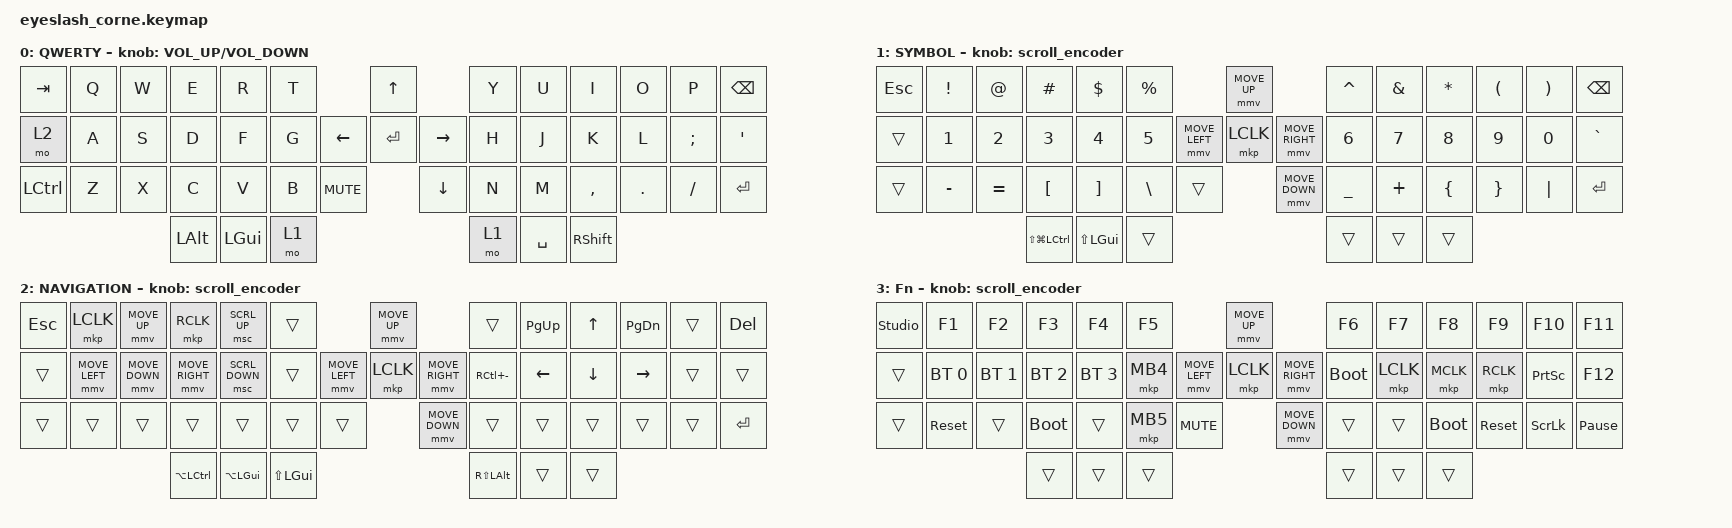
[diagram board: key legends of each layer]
#define ZMK_POINTING_DEFAULT_MOVE_VAL 1200  // 600
#define ZMK_POINTING_DEFAULT_SCRL_VAL 25   // 10

#include <input/processors.dtsi>
#include <zephyr/dt-bindings/input/input-event-codes.h>
#include <behaviors.dtsi>
#include <dt-bindings/zmk/bt.h>
#include <dt-bindings/zmk/keys.h>
#include <dt-bindings/zmk/outputs.h>
#include <dt-bindings/zmk/pointing.h>
#include <dt-bindings/zmk/rgb.h>
#include <behaviors/runtime-sensor-rotate.dtsi>

&mmv_input_listener { input-processors = <&zip_xy_scaler 2 1>; };

&msc_input_listener { input-processors = <&zip_scroll_scaler 2 1>; };

&msc {
    acceleration-exponent = <1>;      // 0
    time-to-max-speed-ms = <100>;       // 300
    delay-ms = <0>;                   // 0
};

&mmv {
    time-to-max-speed-ms = <500>;
    acceleration-exponent = <1>;
    trigger-period-ms = <16>;
};

/ {
    behaviors {
        td0: td0 {
            compatible = "zmk,behavior-tap-dance";
            display-name = "Shift/Caps Lock Tap Dance";
            #binding-cells = <0>;
            bindings = <&kp LEFT_SHIFT>, <&kp CAPS>;
        };

        rsr_vol: rsr_vol {
            compatible = "zmk,behavior-runtime-sensor-rotate";
            #sensor-binding-cells = <0>;
            tap-ms = <5>;
            cw-binding = <&kp C_VOL_UP>;
            ccw-binding = <&kp C_VOL_DN>;
        };

        rsr_trans: rsr_trans {
            compatible = "zmk,behavior-runtime-sensor-rotate";
            #sensor-binding-cells = <0>;
            tap-ms = <0>;
        };
    };
    rgb_encoder: rgb_encoder {
        compatible = "zmk,behavior-sensor-rotate";
        #sensor-binding-cells = <0>;
        bindings = <&rgb_ug RGB_BRI>, <&rgb_ug RGB_BRD>;
    };

    conditional_layers {
        compatible = "zmk,conditional-layers";

        tri_layer {
            if-layers = <1 2>;
            then-layer = <3>;
        };
    };

    scroll_encoder: scroll_encoder {
        compatible = "zmk,behavior-sensor-rotate";
        #sensor-binding-cells = <0>;
        bindings = <&msc SCRL_DOWN>, <&msc SCRL_UP>;

        tap-ms = <100>;
    };

    keymap {
        compatible = "zmk,keymap";

        default_layer {
            display-name = "QWERTY";
            bindings = <
&kp TAB         &kp Q  &kp W  &kp E     &kp R     &kp T                         &kp UP                &kp Y  &kp U      &kp I      &kp O    &kp P     &kp BSPC
&mo 2           &kp A  &kp S  &kp D     &kp F     &kp G               &kp LEFT  &kp ENTER  &kp RIGHT  &kp H  &kp J      &kp K      &kp L    &kp SEMI  &kp SQT
&kp LCTRL       &kp Z  &kp X  &kp C     &kp V     &kp B  &kp C_MUTE             &kp DOWN              &kp N  &kp M      &kp COMMA  &kp DOT  &kp FSLH  &kp ENTER
                              &kp LALT  &kp LGUI  &mo 1                                               &mo 1  &kp SPACE  &kp RSHFT
            >;

            sensor-bindings = <&inc_dec_kp C_VOLUME_UP C_VOLUME_DOWN>;
        };

        lower_layer {
            display-name = "SYMBOL";
            bindings = <
&kp ESC  &kp EXCL   &kp AT     &kp HASH  &kp DLLR  &kp PRCNT                            &mmv MOVE_UP                     &kp CARET  &kp AMPS  &kp ASTRK  &kp LPAR  &kp RPAR  &kp BSPC
&trans   &kp N1     &kp N2     &kp N3    &kp N4    &kp N5               &mmv MOVE_LEFT  &mkp LCLK       &mmv MOVE_RIGHT  &kp N6     &kp N7    &kp N8     &kp N9    &kp N0    &kp GRAVE
&trans   &kp MINUS  &kp EQUAL  &kp LBKT  &kp RBKT  &kp BSLH   &trans                   &mmv MOVE_DOWN                   &kp UNDER  &kp PLUS  &kp LBRC   &kp RBRC  &kp PIPE  &kp ENTER
                               &kp LS(LG(LCTRL))  &kp LS(LGUI)  &trans                                                                &trans     &trans    &trans
            >;

            sensor-bindings = <&scroll_encoder>;
        };

        raise_layer {
            display-name = "NAVIGATION";
            bindings = <
&kp ESC    &mkp LCLK      &mmv MOVE_UP    &mkp RCLK       &msc SCRL_UP   &trans                                  &mmv MOVE_UP                     &trans         &kp PG_UP  &kp UP    &kp PG_DN  &trans  &kp DEL
&trans     &mmv MOVE_LEFT &mmv MOVE_DOWN  &mmv MOVE_RIGHT &msc SCRL_DOWN &trans                &mmv MOVE_LEFT  &mkp LCLK       &mmv MOVE_RIGHT  &kp RC(MINUS)  &kp LEFT   &kp DOWN  &kp RIGHT  &trans  &trans
&trans     &trans    &trans    &trans          &trans         &trans      &trans                     &mmv MOVE_DOWN                   &trans         &trans     &trans    &trans     &trans  &kp ENTER
                               &kp LA(LCTRL)  &kp LA(LGUI)  &kp LS(LGUI)                                                            &kp RS(LALT)   &trans     &trans
            >;

            sensor-bindings = <&scroll_encoder>;
        };

        layer_3 {
            display-name = "Fn";
            bindings = <
&studio_unlock  &kp F1      &kp F2     &kp F3       &kp F4     &kp F5                                  &mmv MOVE_UP                     &kp F6       &kp F7     &kp F8       &kp F9      &kp F10          &kp F11
&trans          &bt BT_SEL 0  &bt BT_SEL 1  &bt BT_SEL 2  &bt BT_SEL 3  &mkp MB4                &mmv MOVE_LEFT  &mkp LCLK       &mmv MOVE_RIGHT  &bootloader  &mkp LCLK  &mkp MCLK    &mkp RCLK   &kp PRINTSCREEN  &kp F12
&trans          &sys_reset  &trans     &bootloader  &trans     &mkp MB5  &kp C_MUTE                    &mmv MOVE_DOWN                   &trans       &trans     &bootloader  &sys_reset  &kp SCROLLLOCK   &kp PAUSE_BREAK
                                       &trans       &trans     &trans                                                                   &trans       &trans     &trans
            >;

            sensor-bindings = <&scroll_encoder>;
        };
    };
};
